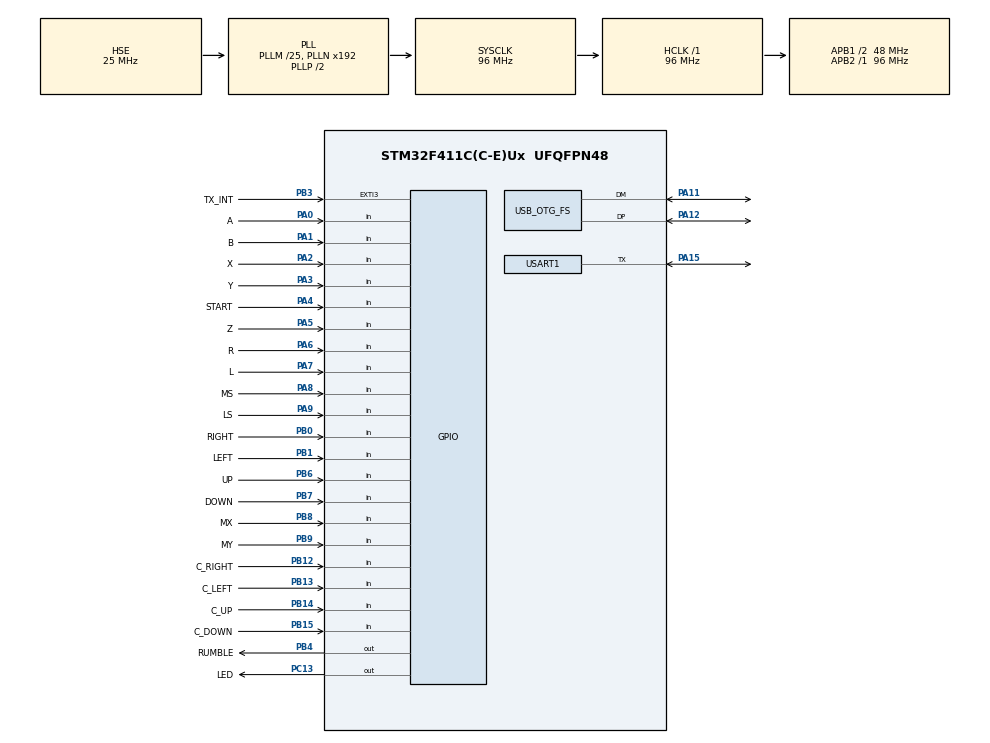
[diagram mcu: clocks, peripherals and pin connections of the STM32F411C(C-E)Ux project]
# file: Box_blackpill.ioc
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Mcu.Family=STM32F4
Mcu.Name=STM32F411C(C-E)Ux
Mcu.Package=UFQFPN48
NVIC.EXTI3_IRQn=true\:0\:0\:true\:false\:true\:true\:true
NVIC.OTG_FS_IRQn=true\:0\:0\:false\:false\:true\:false\:true
NVIC.PriorityGroup=NVIC_PRIORITYGROUP_4
PA0-WKUP.GPIO_Label=A
PA0-WKUP.GPIO_PuPd=GPIO_PULLUP
PA0-WKUP.Signal=GPIO_Input
PA1.GPIO_Label=B
PA1.GPIO_PuPd=GPIO_PULLUP
PA1.Signal=GPIO_Input
PA11.Mode=Device_Only
PA11.Signal=USB_OTG_FS_DM
PA12.Mode=Device_Only
PA12.Signal=USB_OTG_FS_DP
PA13.Mode=Serial_Wire
PA13.Signal=SYS_JTMS-SWDIO
PA14.Mode=Serial_Wire
PA14.Signal=SYS_JTCK-SWCLK
PA15.Mode=Half_duplex(single_wire_mode)
PA15.Signal=USART1_TX
PA2.GPIO_Label=X
PA2.GPIO_PuPd=GPIO_PULLUP
PA2.Signal=GPIO_Input
PA3.GPIO_Label=Y
PA3.GPIO_PuPd=GPIO_PULLUP
PA3.Signal=GPIO_Input
PA4.GPIO_Label=START
PA4.GPIO_PuPd=GPIO_PULLUP
PA4.Signal=GPIO_Input
PA5.GPIO_Label=Z
PA5.GPIO_PuPd=GPIO_PULLUP
PA5.Signal=GPIO_Input
PA6.GPIO_Label=R
PA6.GPIO_PuPd=GPIO_PULLUP
PA6.Signal=GPIO_Input
PA7.GPIO_Label=L
PA7.GPIO_PuPd=GPIO_PULLUP
PA7.Signal=GPIO_Input
PA8.GPIO_Label=MS
PA8.GPIO_PuPd=GPIO_PULLUP
PA8.Signal=GPIO_Input
PA9.GPIO_Label=LS
PA9.GPIO_PuPd=GPIO_PULLUP
PA9.Signal=GPIO_Input
PB0.GPIO_Label=RIGHT
PB0.GPIO_PuPd=GPIO_PULLUP
PB0.Signal=GPIO_Input
PB1.GPIO_Label=LEFT
PB1.GPIO_PuPd=GPIO_PULLUP
PB1.Signal=GPIO_Input
PB12.GPIO_Label=C_RIGHT
PB12.GPIO_PuPd=GPIO_PULLUP
PB12.Signal=GPIO_Input
PB13.GPIO_Label=C_LEFT
PB13.GPIO_PuPd=GPIO_PULLUP
PB13.Signal=GPIO_Input
PB14.GPIO_Label=C_UP
PB14.GPIO_PuPd=GPIO_PULLUP
PB14.Signal=GPIO_Input
PB15.GPIO_Label=C_DOWN
PB15.GPIO_PuPd=GPIO_PULLUP
PB15.Signal=GPIO_Input
PB3.GPIO_Label=TX_INT
PB3.GPIO_ModeDefaultEXTI=GPIO_MODE_IT_FALLING
PB3.GPIO_PuPd=GPIO_PULLUP
PB3.Signal=GPXTI3
PB4.GPIO_Label=RUMBLE
PB4.Signal=GPIO_Output
PB6.GPIO_Label=UP
PB6.GPIO_PuPd=GPIO_PULLUP
PB6.Signal=GPIO_Input
PB7.GPIO_Label=DOWN
PB7.GPIO_PuPd=GPIO_PULLUP
PB7.Signal=GPIO_Input
PB8.GPIO_Label=MX
PB8.GPIO_PuPd=GPIO_PULLUP
PB8.Signal=GPIO_Input
PB9.GPIO_Label=MY
PB9.GPIO_PuPd=GPIO_PULLUP
PB9.Signal=GPIO_Input
PC13-ANTI_TAMP.GPIO_Label=LED
PC13-ANTI_TAMP.Signal=GPIO_Output
PC14-OSC32_IN.Mode=LSE-External-Oscillator
PC14-OSC32_IN.Signal=RCC_OSC32_IN
PC15-OSC32_OUT.Mode=LSE-External-Oscillator
PC15-OSC32_OUT.Signal=RCC_OSC32_OUT
PH0\ -\ OSC_IN.Mode=HSE-External-Oscillator
PH0\ -\ OSC_IN.Signal=RCC_OSC_IN
PH1\ -\ OSC_OUT.Mode=HSE-External-Oscillator
PH1\ -\ OSC_OUT.Signal=RCC_OSC_OUT
ProjectManager.HeapSize=0x200
ProjectManager.StackSize=0x400
ProjectManager.TargetToolchain=STM32CubeIDE
RCC.48MHZClocksFreq_Value=48000000
RCC.AHBFreq_Value=96000000
RCC.APB1CLKDivider=RCC_HCLK_DIV2
RCC.APB1Freq_Value=48000000
RCC.APB1TimFreq_Value=96000000
RCC.APB2Freq_Value=96000000
RCC.APB2TimFreq_Value=96000000
RCC.CortexFreq_Value=96000000
RCC.HCLKFreq_Value=96000000
RCC.HSE_VALUE=25000000
RCC.HSI_VALUE=16000000
RCC.PLLM=25
RCC.SYSCLKFreq_VALUE=96000000
RCC.SYSCLKSource=RCC_SYSCLKSOURCE_PLLCLK
RCC.VCOOutputFreq_Value=192000000
USART1.BaudRate=1000000
USART1.OverSampling=UART_OVERSAMPLING_8
USART1.VirtualMode=VM_ASYNC
USB_DEVICE.CLASS_NAME_FS=CUSTOM_HID
USB_DEVICE.CUSTOM_HID_FS_BINTERVAL=0x1
USB_DEVICE.MANUFACTURER_STRING=Sergio_Dhelomme
USB_DEVICE.PRODUCT_STRING_CUSTOMHID_FS=Fastbox_USB
USB_DEVICE.USBD_CUSTOM_HID_REPORT_DESC_SIZE=145
USB_DEVICE.VirtualMode=CustomHid
USB_DEVICE.VirtualModeFS=Custom_Hid_FS
USB_OTG_FS.VirtualMode=Device_Only
VP_USB_DEVICE_VS_USB_DEVICE_CUSTOM_HID_FS.Mode=CUSTOM_HID_FS
board=custom

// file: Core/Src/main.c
/* USER CODE BEGIN Header */
/**
 ******************************************************************************
 * @file           : main.c
 * @brief          : Main program body
 ******************************************************************************
 * @attention
 *
 * Copyright (c) 2022 STMicroelectronics.
 * All rights reserved.
 *
 * This software is licensed under terms that can be found in the LICENSE file
 * in the root directory of this software component.
 * If no LICENSE file comes with this software, it is provided AS-IS.
 *
 ******************************************************************************
 */
/* USER CODE END Header */
#include "main.h"
#include "usb_device.h"

/* USER CODE BEGIN Includes */
//#include "COMMS.h"
//#include "GC_DAC.h"
//#include "COMMS.h"
#include "SETUP.h"
#include "usbd_customhid.h"
#include "usbd_ctlreq.h"

/* USER CODE END Includes */

UART_HandleTypeDef huart1;

/* USER CODE BEGIN PV */

volatile struct controller_inputs
{
  uint8_t reportID;
  uint8_t buttons;
  int8_t ctrl_x;
  int8_t ctrl_y;
  int8_t cstk_x;
  int8_t cstk_y;
  uint8_t analog_l;
  uint8_t analog_r;
  uint8_t dpad;
};

extern USBD_HandleTypeDef hUsbDeviceFS;

volatile struct controller_inputs ControllerInputs;

/* USER CODE END PV */

void SystemClock_Config(void);
static void MX_GPIO_Init(void);
static void MX_USART1_UART_Init(void);

/* USER CODE BEGIN 0 */

//volatile uint8_t  StYXBA =    0x00;
//volatile uint8_t  LRZDpad =   0x80; // these are pulled straight from pin registers and are not necessary for the code

uint8_t modeUSB = 1;

volatile uint8_t  ControlX =  128; 	//X,Y for control stick
volatile uint8_t  ControlY =  128;

volatile uint8_t  CstickX =   128; 	// X,Y for C-Stick
volatile uint8_t  CstickY =   128;

const uint8_t  AnalogL =   0;		// Analog L and R triggers (only R is used so L can remain at zero)
volatile uint8_t  AnalogR =   0;

volatile uint8_t  DPad =      0;	// Dpad values

//int count = 0;
//int total_count = 0;			// for debugging
//int avg_count = 0;
//int count_num = 0;

bool dPad_on = false;			// if MX and MY are pressed this becomes true, allowing the use of the Dpad

//volatile uint8_t  rumble =    0;	// rumble is pulled straight from console polls into the output pin registers

/* USER CODE END 0 */

int main(void)
{
  /* USER CODE BEGIN 1 */
  ControllerInputs.reportID = 1;
  ControllerInputs.buttons = 0;
  ControllerInputs.ctrl_x = 0;
  ControllerInputs.ctrl_y = 0;
  ControllerInputs.cstk_x = 0;
  ControllerInputs.cstk_y = 0;
  ControllerInputs.analog_l = 0;
  ControllerInputs.analog_r = 0;
  ControllerInputs.dpad = 0;
  /* USER CODE END 1 */

  /* MCU Configuration--------------------------------------------------------*/

  /* Reset of all peripherals, Initializes the Flash interface and the Systick. */
  HAL_Init();

  /* Configure the system clock */
  SystemClock_Config();

  /* Initialize all configured peripherals */
  MX_GPIO_Init();
  MX_USB_DEVICE_Init();
  MX_USART1_UART_Init();

  /* Infinite loop */
  /* USER CODE BEGIN WHILE */
	while (1)
	{
	  if (modeUSB == 1)
	  {
	      //Digital_Analog_Conversion();
	      UpdateInputsUSB();
	  }

	     //count++;

	     //Digital_Analog_Conversion();  // Performs the DAC algorithm for Control Stick, Cstick and analog triggers
					   // SEE DAC.c for details
					   // Runs continuously until interrupted by an external interrupt
					   // ISR below is HAL_GPIO_EXTI_Callback()

    /* USER CODE END WHILE */

    /* USER CODE BEGIN 3 */
		/* USER CODE BEGIN 3 */

	}
  /* USER CODE END 3 */
}

void SystemClock_Config(void)
{
  RCC_OscInitTypeDef RCC_OscInitStruct = {0};
  RCC_ClkInitTypeDef RCC_ClkInitStruct = {0};

  /** Configure the main internal regulator output voltage
  */
  __HAL_RCC_PWR_CLK_ENABLE();
  __HAL_PWR_VOLTAGESCALING_CONFIG(PWR_REGULATOR_VOLTAGE_SCALE1);
  /** Initializes the RCC Oscillators according to the specified parameters
  * in the RCC_OscInitTypeDef structure.
  */
  RCC_OscInitStruct.OscillatorType = RCC_OSCILLATORTYPE_HSE;
  RCC_OscInitStruct.HSEState = RCC_HSE_ON;
  RCC_OscInitStruct.PLL.PLLState = RCC_PLL_ON;
  RCC_OscInitStruct.PLL.PLLSource = RCC_PLLSOURCE_HSE;
  RCC_OscInitStruct.PLL.PLLM = 25;
  RCC_OscInitStruct.PLL.PLLN = 192;
  RCC_OscInitStruct.PLL.PLLP = RCC_PLLP_DIV2;
  RCC_OscInitStruct.PLL.PLLQ = 4;
  if (HAL_RCC_OscConfig(&RCC_OscInitStruct) != HAL_OK)
  {
    Error_Handler();
  }
  /** Initializes the CPU, AHB and APB buses clocks
  */
  RCC_ClkInitStruct.ClockType = RCC_CLOCKTYPE_HCLK|RCC_CLOCKTYPE_SYSCLK
                              |RCC_CLOCKTYPE_PCLK1|RCC_CLOCKTYPE_PCLK2;
  RCC_ClkInitStruct.SYSCLKSource = RCC_SYSCLKSOURCE_PLLCLK;
  RCC_ClkInitStruct.AHBCLKDivider = RCC_SYSCLK_DIV1;
  RCC_ClkInitStruct.APB1CLKDivider = RCC_HCLK_DIV2;
  RCC_ClkInitStruct.APB2CLKDivider = RCC_HCLK_DIV1;

  if (HAL_RCC_ClockConfig(&RCC_ClkInitStruct, FLASH_LATENCY_3) != HAL_OK)
  {
    Error_Handler();
  }
}

static void MX_USART1_UART_Init(void)
{

  huart1.Instance = USART1;
  huart1.Init.BaudRate = 1000000;
  huart1.Init.WordLength = UART_WORDLENGTH_8B;
  huart1.Init.StopBits = UART_STOPBITS_1;
  huart1.Init.Parity = UART_PARITY_NONE;
  huart1.Init.Mode = UART_MODE_TX_RX;
  huart1.Init.HwFlowCtl = UART_HWCONTROL_NONE;
  huart1.Init.OverSampling = UART_OVERSAMPLING_8;
  if (HAL_HalfDuplex_Init(&huart1) != HAL_OK)
  {
    Error_Handler();
  }

}

static void MX_GPIO_Init(void)
{
  GPIO_InitTypeDef GPIO_InitStruct = {0};

  /* GPIO Ports Clock Enable */
  __HAL_RCC_GPIOC_CLK_ENABLE();
  __HAL_RCC_GPIOH_CLK_ENABLE();
  __HAL_RCC_GPIOA_CLK_ENABLE();
  __HAL_RCC_GPIOB_CLK_ENABLE();

  /*Configure GPIO pin Output Level */
  HAL_GPIO_WritePin(LED_GPIO_Port, LED_Pin, GPIO_PIN_RESET);

  /*Configure GPIO pin Output Level */
  HAL_GPIO_WritePin(RUMBLE_GPIO_Port, RUMBLE_Pin, GPIO_PIN_RESET);

  /*Configure GPIO pin : LED_Pin */
  GPIO_InitStruct.Pin = LED_Pin;
  GPIO_InitStruct.Mode = GPIO_MODE_OUTPUT_PP;
  GPIO_InitStruct.Pull = GPIO_NOPULL;
  GPIO_InitStruct.Speed = GPIO_SPEED_FREQ_LOW;
  HAL_GPIO_Init(LED_GPIO_Port, &GPIO_InitStruct);

  /*Configure GPIO pins : A_Pin B_Pin X_Pin Y_Pin
                           START_Pin Z_Pin R_Pin L_Pin
                           MS_Pin LS_Pin */
  GPIO_InitStruct.Pin = A_Pin|B_Pin|X_Pin|Y_Pin
                          |START_Pin|Z_Pin|R_Pin|L_Pin
                          |MS_Pin|LS_Pin;
  GPIO_InitStruct.Mode = GPIO_MODE_INPUT;
  GPIO_InitStruct.Pull = GPIO_PULLUP;
  HAL_GPIO_Init(GPIOA, &GPIO_InitStruct);

  /*Configure GPIO pins : RIGHT_Pin LEFT_Pin C_RIGHT_Pin C_LEFT_Pin
                           C_UP_Pin C_DOWN_Pin UP_Pin DOWN_Pin
                           MX_Pin MY_Pin */
  GPIO_InitStruct.Pin = RIGHT_Pin|LEFT_Pin|C_RIGHT_Pin|C_LEFT_Pin
                          |C_UP_Pin|C_DOWN_Pin|UP_Pin|DOWN_Pin
                          |MX_Pin|MY_Pin;
  GPIO_InitStruct.Mode = GPIO_MODE_INPUT;
  GPIO_InitStruct.Pull = GPIO_PULLUP;
  HAL_GPIO_Init(GPIOB, &GPIO_InitStruct);

  /*Configure GPIO pin : TX_INT_Pin */
  GPIO_InitStruct.Pin = TX_INT_Pin;
  GPIO_InitStruct.Mode = GPIO_MODE_IT_FALLING;
  GPIO_InitStruct.Pull = GPIO_PULLUP;
  HAL_GPIO_Init(TX_INT_GPIO_Port, &GPIO_InitStruct);

  /*Configure GPIO pin : RUMBLE_Pin */
  GPIO_InitStruct.Pin = RUMBLE_Pin;
  GPIO_InitStruct.Mode = GPIO_MODE_OUTPUT_PP;
  GPIO_InitStruct.Pull = GPIO_NOPULL;
  GPIO_InitStruct.Speed = GPIO_SPEED_FREQ_LOW;
  HAL_GPIO_Init(RUMBLE_GPIO_Port, &GPIO_InitStruct);

  /* EXTI interrupt init*/
  HAL_NVIC_SetPriority(EXTI3_IRQn, 0, 0);
  HAL_NVIC_EnableIRQ(EXTI3_IRQn);

}

/* USER CODE BEGIN 4 */

void HAL_GPIO_EXTI_Callback(uint16_t GPIO_Pin)
{

  Digital_Analog_Conversion();
  ReceiveCommand(); // reads incoming message from console and replies accordingly
		    // See COMMS.h for more detail

  //count_num=count;
  //avg_count = count; // debugging
  //count = 0;

  __HAL_GPIO_EXTI_CLEAR_IT(GPIO_Pin); // clear interrupt flag
}

void PrepareInputsUSB()
{
  Digital_Analog_Conversion();

  ControllerInputs.buttons = ~BTN_PIN;

  ControllerInputs.ctrl_x = ControlX-128;
  ControllerInputs.ctrl_y = 128-ControlY;
  ControllerInputs.cstk_x = CstickX-128;
  ControllerInputs.cstk_y = CstickY-128;
  ControllerInputs.analog_l = AnalogL;
  ControllerInputs.analog_r = AnalogR;
  ControllerInputs.dpad = Dpad2HatSwitch(DPad);
}

void UpdateInputsUSB()
{
  //PrepareInputsUSB();

  USBD_CUSTOM_HID_SendInputs(&hUsbDeviceFS, &ControllerInputs, 9, &PrepareInputsUSB);

}

/* USER CODE END 4 */

void Error_Handler(void)
{
	__disable_irq();
	while (1) {
	}
}
